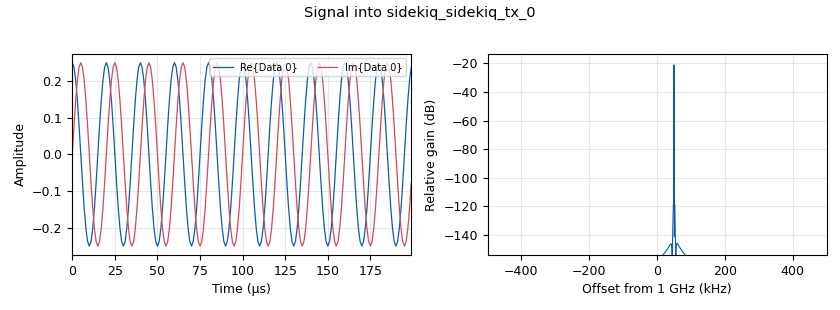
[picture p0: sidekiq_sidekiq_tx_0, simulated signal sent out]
options:
  parameters:
    author: Epiq Solutions
    category: '[Sidekiq Examples]'
    description: One RF-timestamped Sidekiq TX burst using UHD-compatible tx_time and length tags.
    generate_options: no_gui
    id: tx_timed_burst
    output_language: python
    title: Sidekiq Timed TX Burst
  states: {}

blocks:
- name: sample_rate
  id: variable
  parameters:
    comment: TX RF sample-counter rate
    value: 1e6
  states: {}
- name: burst_len
  id: variable
  parameters:
    comment: Complex samples in the burst
    value: '100000'
  states: {}
- name: tx_time_seconds
  id: variable
  parameters:
    comment: Whole seconds on the Sidekiq RF timestamp clock
    value: '5'
  states: {}
- name: tx_time_fraction
  id: variable
  parameters:
    comment: Fractional seconds in [0, 1)
    value: '0.0'
  states: {}
- name: frequency
  id: variable
  parameters:
    comment: TX LO frequency
    value: 1000e6
  states: {}
- name: tone_frequency
  id: variable
  parameters:
    comment: Complex tone offset from the LO
    value: 50e3
  states: {}
- name: packet_len_tag
  id: variable_tag_object
  parameters:
    comment: UHD tagged-stream-style burst length
    key: pmt.intern("packet_len")
    offset: '0'
    src: pmt.intern("tx_timed_burst")
    value: pmt.from_uint64(burst_len)
  states: {}
- name: tx_time_tag
  id: variable_tag_object
  parameters:
    comment: UHD-compatible (whole seconds, fractional seconds) tuple
    key: pmt.intern("tx_time")
    offset: '0'
    src: pmt.intern("tx_timed_burst")
    value: pmt.make_tuple(pmt.from_uint64(tx_time_seconds), pmt.from_double(tx_time_fraction))
  states: {}
- name: import_numpy
  id: import
  parameters:
    imports: import numpy
  states: {}
- name: import_pmt
  id: import
  parameters:
    imports: import pmt
  states: {}
- name: blocks_vector_source_x_0
  id: blocks_vector_source_x
  parameters:
    comment: Finite 0.25-amplitude complex tone
    repeat: 'False'
    tags: '[packet_len_tag, tx_time_tag]'
    type: complex
    vector: 0.25*numpy.exp(2j*numpy.pi*tone_frequency*numpy.arange(burst_len)/sample_rate)
  states: {}
- name: sidekiq_sidekiq_tx_0
  id: sidekiq_sidekiq_tx
  parameters:
    attenuation: '125'
    bandwidth: 0.8*sample_rate
    buffer_size: '4092'
    burst_tag: packet_len
    cal_mode: '0'
    card: '0'
    comment: Timed mode requires packet_len and tx_time at the first sample
    frequency: frequency
    handle: '0'
    run_cal: '0'
    sample_rate: sample_rate
    threads: '1'
    timed_tx: '1'
    topology: '0'
  states: {}

connections:
- [blocks_vector_source_x_0, '0', sidekiq_sidekiq_tx_0, '0']

metadata:
  file_format: 1
  grc_version: 3.10.11.0
